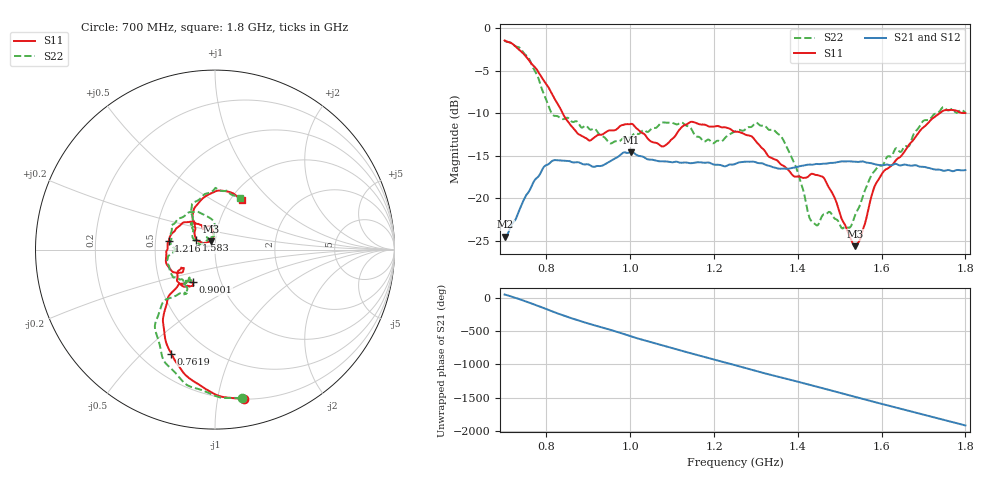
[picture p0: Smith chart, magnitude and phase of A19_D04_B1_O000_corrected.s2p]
! Created with skrf 1.9.0 (http://scikit-rf.org).
# Hz S RI R 50.0
!freq ReS11 ImS11 ReS21 ImS21 ReS12 ImS12 ReS22 ImS22
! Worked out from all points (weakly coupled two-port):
!   1601 points, 700 MHz to 1.8 GHz, reference 50 ohm
!   highest |S21| = -14.56 dB at 1.002 GHz (marker M1); lowest = -24.5 dB at 702.1 MHz (marker M2)
!   lowest |S11| = -25.6 dB at 1.536 GHz (marker M3), VSWR 1.11, Z = 47.6 + j4.52 ohm
!   |S11| at or under -10 dB: 838.8 MHz to 1.738 GHz (899.2 MHz wide, 69.8 % of centre)
!   |S22| runs from -23.5 to -1.5 dB; largest |S21 - S12| = 0.0035
!   S11 on the Smith chart (normalised r, x): 700 MHz: 0.20, -1.19; 761.9 MHz: 0.32, -0.62; 900.1 MHz: 0.73, -0.28; 1.216 GHz: 0.59, +0.06; 1.583 GHz: 0.81, +0.09; 1.8 GHz: 1.13, +0.70
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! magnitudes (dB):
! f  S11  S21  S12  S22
! 700 MHz  -1.4  -24.5  -24.3  -1.5
! 702.1 MHz  -1.5  -24.5  -24.1  -1.5
! 761.9 MHz  -4.0  -18.8  -18.8  -3.9
! 814.1 MHz  -7.8  -15.6  -15.6  -10.1
! 883.6 MHz  -12.6  -15.9  -15.8  -11.7
! 900.1 MHz  -13.1  -16.0  -16.0  -11.7
! 952.3 MHz  -12.0  -15.6  -15.6  -13.5
! 1.002 GHz  -11.2  -14.6  -14.7  -12.7
! 1.067 GHz  -13.6  -15.6  -15.5  -11.4
! 1.144 GHz  -11.0  -15.9  -15.8  -11.7
! 1.216 GHz  -11.6  -16.1  -16.1  -13.3
! 1.25 GHz  -12.2  -16.0  -15.9  -12.1
! 1.359 GHz  -16.0  -16.5  -16.5  -12.7
! 1.396 GHz  -17.4  -16.3  -16.3  -16.3
! 1.434 GHz  -17.1  -16.0  -16.0  -22.7
! 1.464 GHz  -17.8  -15.9  -15.9  -21.8
! 1.508 GHz  -22.7  -15.6  -15.6  -23.5
! 1.536 GHz  -25.6  -15.7  -15.7  -22.1
! 1.583 GHz  -18.6  -16.0  -16.0  -16.8
! 1.617 GHz  -16.4  -16.1  -16.0  -15.0
! 1.74 GHz  -9.9  -16.6  -16.6  -9.6
! 1.8 GHz  -10.0  -16.7  -16.7  -9.9
